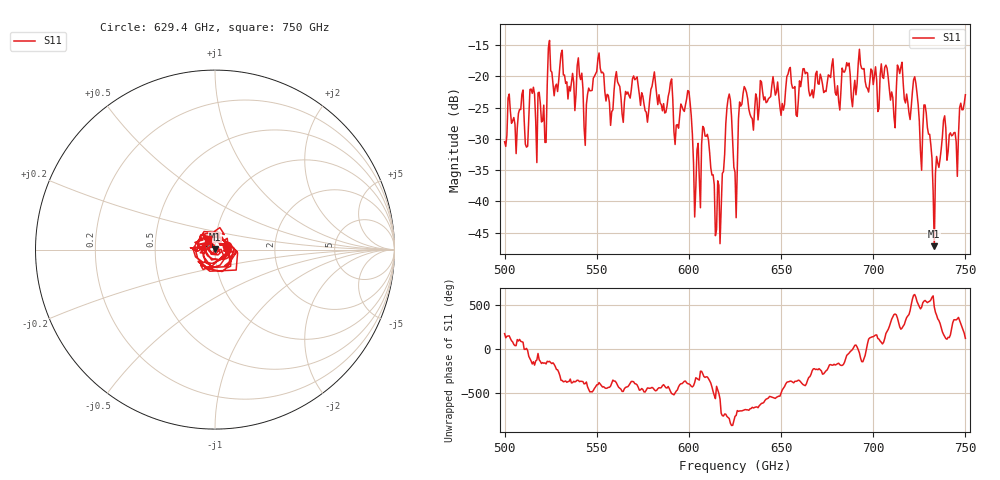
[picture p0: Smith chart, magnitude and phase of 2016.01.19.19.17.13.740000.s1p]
!Created with skrf (http://scikit-rf.org).
# GHz S RI R 50.0
!freq ReS11 ImS11
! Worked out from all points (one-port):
!   401 points, 500 GHz to 750 GHz, reference 50 ohm
!   lowest |S11| = -47.1 dB at 733.1 GHz (marker M1), VSWR 1.01, Z = 49.8 + j0.372 ohm
!   |S11| at or under -10 dB: start of sweep to end of sweep
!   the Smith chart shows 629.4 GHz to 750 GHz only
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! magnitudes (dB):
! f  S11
! 500 GHz  -30.5
! 508.8 GHz  -25.3
! 511.9 GHz  -31.3
! 515 GHz  -22.7
! 521.2 GHz  -24.6
! 524.4 GHz  -14.3
! 531.2 GHz  -15.9
! 543.8 GHz  -31.0
! 550.6 GHz  -17.2
! 562.5 GHz  -21.7
! 590 GHz  -21.0
! 593.8 GHz  -27.7
! 600 GHz  -22.4
! 604.4 GHz  -31.8
! 608.8 GHz  -29.6
! 615.6 GHz  -36.7
! 621.9 GHz  -22.9
! 625 GHz  -35.3
! 630 GHz  -21.7
! 656.2 GHz  -21.9
! 687.5 GHz  -19.7
! 706.9 GHz  -18.2
! 710.6 GHz  -23.4
! 714.4 GHz  -19.6
! 718.8 GHz  -24.2
! 728.8 GHz  -25.9
! 733.1 GHz  -47.1
! 750 GHz  -23.0
